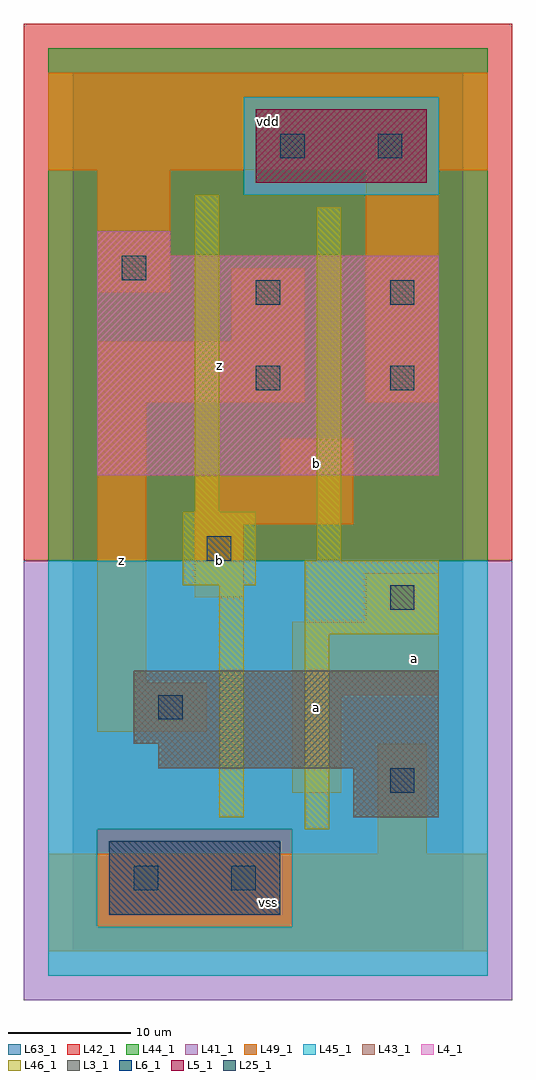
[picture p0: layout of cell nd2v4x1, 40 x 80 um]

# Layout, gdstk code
import gdstk
lib = gdstk.Library(unit=1e-6, precision=1e-09)
def R(c, l, rs):  # rectangles x0, y0, x1, y1
    for r in rs: c.add(gdstk.rectangle(r[:2], r[2:], *l))
L3_1 = (3, 1)
L4_1 = (4, 1)
L5_1 = (5, 1)
L6_1 = (6, 1)
L25_1 = (25, 1)
L41_1 = (41, 1)
L42_1 = (42, 1)
L43_1 = (43, 1)
L44_1 = (44, 1)
L45_1 = (45, 1)
L46_1 = (46, 1)
L49_1 = (49, 1)
L63_1 = (63, 1)

nd2v4x1 = lib.new_cell('nd2v4x1')
R(nd2v4x1, L3_1, [(23,11,30,15), (7,15,30,17), (5,17,30,23)])
R(nd2v4x1, L4_1, [(2,39,30,57), (2,57,8,59)])
R(nd2v4x1, L5_1, [(15,63,29,69)])
R(nd2v4x1, L6_1, [(3,3,17,9), (3,3,17,9)])
R(nd2v4x1, L25_1, [(5,5,7,7), (13,5,15,7), (26,13,28,15), (7,19,9,21), (26,28,28,30), (11,32,13,34), (15,46,17,48), (26,46,28,48), (15,53,17,55), (26,53,28,55), (4,55,6,57), (17,65,19,67), (25,65,27,67)])
R(nd2v4x1, L41_1, [(-4,-4,36,32)])
R(nd2v4x1, L42_1, [(-4,32,36,76)])
R(nd2v4x1, L43_1, [(3,3,17,9), (23,11,30,15), (7,15,30,17), (5,17,30,23), (2,39,30,57), (2,57,8,59), (15,63,29,69)])
R(nd2v4x1, L44_1, [(2,2,18,10), (-2,32,34,62), (-2,62,14,70), (30,62,34,70), (-2,70,34,74)])
R(nd2v4x1, L45_1, [(-2,-2,34,2), (-2,2,2,10), (18,2,34,10), (-2,10,34,32), (14,62,30,70)])
R(nd2v4x1, L46_1, [(19,10,21,26), (12,11,14,30), (19,26,30,32), (9,30,15,36), (20,32,22,61), (10,36,12,62)])
R(nd2v4x1, L49_1, [(-2,0,34,8), (25,8,29,17), (18,13,22,21), (2,18,11,22), (18,21,30,27), (2,22,6,45), (24,27,30,31), (10,29,14,35), (10,35,23,39), (17,39,23,42), (2,45,19,50), (24,45,30,64), (13,50,19,56), (2,54,8,64), (-2,64,34,72)])
R(nd2v4x1, L63_1, [(0,0,32,72)])
nd2v4x1.add(gdstk.Label('z', (4,32), layer=49, texttype=1))
nd2v4x1.add(gdstk.Label('b', (12,32), layer=49, texttype=1))
nd2v4x1.add(gdstk.Label('z', (12,48), layer=49, texttype=1))
nd2v4x1.add(gdstk.Label('vss', (16,4), layer=49, texttype=1))
nd2v4x1.add(gdstk.Label('a', (20,20), layer=49, texttype=1))
nd2v4x1.add(gdstk.Label('b', (20,40), layer=49, texttype=1))
nd2v4x1.add(gdstk.Label('vdd', (16,68), layer=49, texttype=1))
nd2v4x1.add(gdstk.Label('a', (28,24), layer=49, texttype=1))

lib.write_gds('nd2v4x1.gds')
